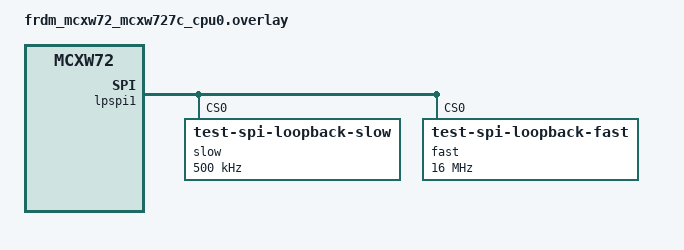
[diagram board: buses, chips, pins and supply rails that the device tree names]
/*
 * Copyright 2024 NXP
 *
 * SPDX-License-Identifier: Apache-2.0
 */

/*
 * This is a loopback setup for the frdm_mcxw72
 * To test this sample, connect J2.6 <-> J2.7
 */
&lpspi1 {
	slow@0 {
		compatible = "test-spi-loopback-slow";
		reg = <0>;
		spi-max-frequency = <500000>;
	};
	fast@0 {
		compatible = "test-spi-loopback-fast";
		reg = <0>;
		spi-max-frequency = <16000000>;
	};
};
